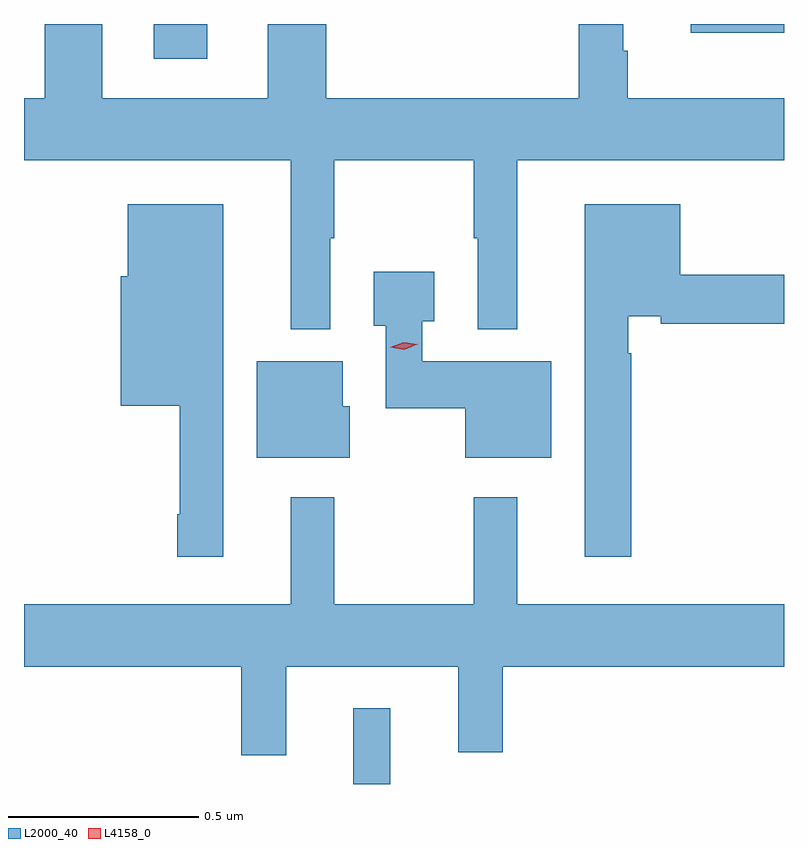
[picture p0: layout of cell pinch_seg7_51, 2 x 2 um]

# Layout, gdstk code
import gdstk
lib = gdstk.Library(unit=1e-6, precision=1e-09)
def R(c, l, rs):  # rectangles x0, y0, x1, y1
    for r in rs: c.add(gdstk.rectangle(r[:2], r[2:], *l))
def P(c, l, *ps):  # polygons
    for p in ps: c.add(gdstk.Polygon(p, *l))
L2000_40 = (2000, 40)
L4158_0 = (4158, 0)

pinch_seg7_51 = lib.new_cell('pinch_seg7_51')
R(pinch_seg7_51, L2000_40, [(978.476,1045.595,978.573,1045.795), (977.951,1047.504,978.091,1047.595), (979.364,1047.572,979.609,1047.595)])
P(pinch_seg7_51, L2000_40, [(978.404,1047.595),(978.251,1047.595),(978.251,1047.4),(977.815,1047.4),(977.815,1047.595),(977.663,1047.595),(977.663,1047.4),(977.609,1047.4),(977.609,1047.236),(978.311,1047.236),(978.311,1046.792),(978.415,1046.792),(978.415,1047.031),(978.425,1047.031),(978.425,1047.236),(978.793,1047.236),(978.793,1047.031),(978.803,1047.031),(978.803,1046.792),(978.907,1046.792),(978.907,1047.236),(979.609,1047.236),(979.609,1047.4),(979.198,1047.4),(979.198,1047.524),(979.186,1047.524),(979.186,1047.595),(979.069,1047.595),(979.069,1047.4),(978.404,1047.4)],
  [(979.207,1046.729),(979.199,1046.729),(979.199,1046.826),(979.285,1046.826),(979.285,1046.806),(979.609,1046.806),(979.609,1046.935),(979.336,1046.935),(979.336,1047.121),(979.085,1047.121),(979.085,1046.193),(979.207,1046.193)],
  [(978.133,1047.121),(977.882,1047.121),(977.882,1046.931),(977.864,1046.931),(977.864,1046.591),(978.019,1046.591),(978.019,1046.305),(978.012,1046.305),(978.012,1046.193),(978.133,1046.193)],
  [(978.997,1046.707),(978.657,1046.707),(978.657,1046.813),(978.688,1046.813),(978.688,1046.943),(978.53,1046.943),(978.53,1046.801),(978.561,1046.801),(978.561,1046.584),(978.77,1046.584),(978.77,1046.453),(978.997,1046.453)],
  [(978.466,1046.589),(978.448,1046.589),(978.448,1046.707),(978.221,1046.707),(978.221,1046.453),(978.466,1046.453)],
  [(978.299,1045.904),(978.752,1045.904),(978.752,1045.679),(978.869,1045.679),(978.869,1045.904),(979.609,1045.904),(979.609,1046.068),(978.907,1046.068),(978.907,1046.35),(978.793,1046.35),(978.793,1046.068),(978.425,1046.068),(978.425,1046.35),(978.311,1046.35),(978.311,1046.068),(977.609,1046.068),(977.609,1045.904),(978.181,1045.904),(978.181,1045.671),(978.299,1045.671)])
P(pinch_seg7_51, L4158_0, [(978.61,1046.738),(978.573,1046.744),(978.573,1046.744),(978.573,1046.744),(978.608,1046.758),(978.644,1046.752),(978.645,1046.752),(978.644,1046.752)])

lib.write_gds('pinch_seg7_51.gds')
